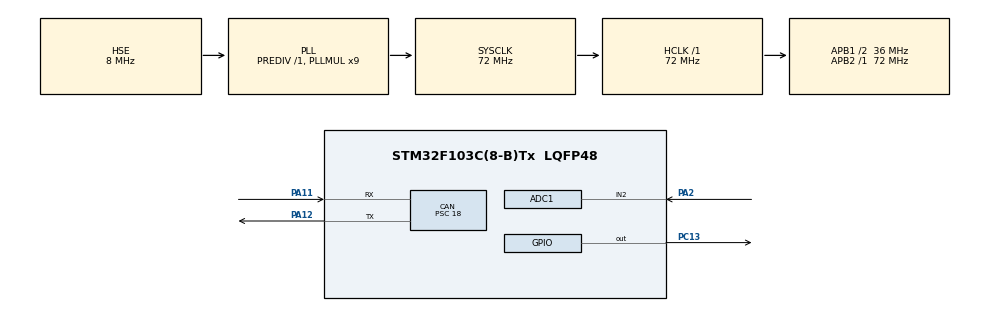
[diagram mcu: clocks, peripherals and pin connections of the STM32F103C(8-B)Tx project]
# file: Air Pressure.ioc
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ADC1.Channel-0\#ChannelRegularConversion=ADC_CHANNEL_2
ADC1.ContinuousConvMode=ENABLE
ADC1.NbrOfConversionFlag=1
ADC1.Rank-0\#ChannelRegularConversion=1
ADC1.SamplingTime-0\#ChannelRegularConversion=ADC_SAMPLETIME_239CYCLES_5
ADC1.master=1
CAN.BS1=CAN_BS1_2TQ
CAN.CalculateBaudRate=500000
CAN.CalculateTimeBit=2000
CAN.CalculateTimeQuantum=500.0
CAN.Prescaler=18
Mcu.Family=STM32F1
Mcu.Name=STM32F103C(8-B)Tx
Mcu.Package=LQFP48
NVIC.CAN1_RX1_IRQn=true\:0\:0\:false\:false\:true\:true\:true\:true
NVIC.PriorityGroup=NVIC_PRIORITYGROUP_4
NVIC.USB_LP_CAN1_RX0_IRQn=true\:0\:0\:false\:false\:true\:true\:true\:true
PA11.Mode=CAN_Activate
PA11.Signal=CAN_RX
PA12.Mode=CAN_Activate
PA12.Signal=CAN_TX
PA13.Mode=Serial_Wire
PA13.Signal=SYS_JTMS-SWDIO
PA14.Mode=Serial_Wire
PA14.Signal=SYS_JTCK-SWCLK
PA2.Signal=ADCx_IN2
PC13-TAMPER-RTC.Signal=GPIO_Output
PD0-OSC_IN.Mode=HSE-External-Oscillator
PD0-OSC_IN.Signal=RCC_OSC_IN
PD1-OSC_OUT.Mode=HSE-External-Oscillator
PD1-OSC_OUT.Signal=RCC_OSC_OUT
ProjectManager.HeapSize=0x200
ProjectManager.StackSize=0x400
ProjectManager.TargetToolchain=STM32CubeIDE
RCC.ADCPresc=RCC_ADCPCLK2_DIV6
RCC.AHBFreq_Value=72000000
RCC.APB1CLKDivider=RCC_HCLK_DIV2
RCC.APB1Freq_Value=36000000
RCC.APB1TimFreq_Value=72000000
RCC.APB2Freq_Value=72000000
RCC.APB2TimFreq_Value=72000000
RCC.HCLKFreq_Value=72000000
RCC.PLLMUL=RCC_PLL_MUL9
RCC.PLLSourceVirtual=RCC_PLLSOURCE_HSE
RCC.SYSCLKFreq_VALUE=72000000
RCC.SYSCLKSource=RCC_SYSCLKSOURCE_PLLCLK
RCC.USBFreq_Value=72000000
SH.ADCx_IN2.0=ADC1_IN2,IN2
board=custom

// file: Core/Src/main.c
/* USER CODE BEGIN Header */
/**
  ******************************************************************************
  * @file           : main.c
  * @brief          : Main program body
  ******************************************************************************
  * @attention
  *
  * <h2><center>&copy; Copyright (c) 2021 STMicroelectronics.
  * All rights reserved.</center></h2>
  *
  * This software component is licensed by ST under BSD 3-Clause license,
  * the "License"; You may not use this file except in compliance with the
  * License. You may obtain a copy of the License at:
  *                        opensource.org/licenses/BSD-3-Clause
  *
  ******************************************************************************
  */
/* USER CODE END Header */
#include "main.h"

ADC_HandleTypeDef hadc1;

CAN_HandleTypeDef hcan;

void SystemClock_Config(void);
static void MX_GPIO_Init(void);
static void MX_ADC1_Init(void);
static void MX_CAN_Init(void);

/* USER CODE BEGIN 0 */

float analog_12bit;
float voltage;
const float aRef = 3.23;
uint32_t PSI_Real;
uint8_t psi;

CAN_TxHeaderTypeDef TxHeader;
CAN_RxHeaderTypeDef RxHeader;

uint8_t TxData[8];
uint8_t RxData[8];

uint32_t TxMailbox;

int datacheck = 0;

void HAL_CAN_RxFifo1MsgPendingCallback(CAN_HandleTypeDef *hcan)
{
	HAL_CAN_GetRxMessage(hcan, CAN_RX_FIFO1, &RxHeader, RxData);
	if (RxHeader.DLC == 1)
	{
		datacheck = 1;
	}
}

/* USER CODE END 0 */

int main(void)
{

  /* MCU Configuration--------------------------------------------------------*/

  /* Reset of all peripherals, Initializes the Flash interface and the Systick. */
  HAL_Init();

  /* Configure the system clock */
  SystemClock_Config();

  /* Initialize all configured peripherals */
  MX_GPIO_Init();
  MX_ADC1_Init();
  MX_CAN_Init();
  /* USER CODE BEGIN 2 */

  HAL_CAN_Start(&hcan);

  // Activate the notification
  HAL_CAN_ActivateNotification(&hcan, CAN_IT_RX_FIFO1_MSG_PENDING);

  TxHeader.DLC = 1;  // data length
  TxHeader.IDE = CAN_ID_STD;
  TxHeader.RTR = CAN_RTR_DATA;
  TxHeader.StdId = 0x103;  // ID

//  TxData[0] = 200;  // ms delay
//  TxData[1] = 20;  // loop rep

  /* USER CODE END 2 */

  /* Infinite loop */
  while (1)
  {

    /* USER CODE BEGIN 3 */

	  //
//	  if (datacheck)
//	  {
		  HAL_ADC_Start(&hadc1);

		  analog_12bit = HAL_ADC_GetValue(&hadc1);

		  voltage = (float) ((float)(analog_12bit / 3530.0) * aRef);
		  psi = (uint8_t)((37.735 * voltage) - 12.075); // y=mx+b
		  if(psi > 100)
		  {
			  psi = 100;
		  }
		  if(psi < 0)
		  {
			  psi = 0;
		  }

		  TxData[0] = psi;
		  datacheck = 0;

		  HAL_CAN_AddTxMessage(&hcan, &TxHeader, TxData, &TxMailbox);
		  HAL_Delay(700);
	 // }
  }
  /* USER CODE END 3 */
}

void SystemClock_Config(void)
{
  RCC_OscInitTypeDef RCC_OscInitStruct = {0};
  RCC_ClkInitTypeDef RCC_ClkInitStruct = {0};
  RCC_PeriphCLKInitTypeDef PeriphClkInit = {0};

  /** Initializes the RCC Oscillators according to the specified parameters
  * in the RCC_OscInitTypeDef structure.
  */
  RCC_OscInitStruct.OscillatorType = RCC_OSCILLATORTYPE_HSE;
  RCC_OscInitStruct.HSEState = RCC_HSE_ON;
  RCC_OscInitStruct.HSEPredivValue = RCC_HSE_PREDIV_DIV1;
  RCC_OscInitStruct.HSIState = RCC_HSI_ON;
  RCC_OscInitStruct.PLL.PLLState = RCC_PLL_ON;
  RCC_OscInitStruct.PLL.PLLSource = RCC_PLLSOURCE_HSE;
  RCC_OscInitStruct.PLL.PLLMUL = RCC_PLL_MUL9;
  if (HAL_RCC_OscConfig(&RCC_OscInitStruct) != HAL_OK)
  {
    Error_Handler();
  }

  /** Initializes the CPU, AHB and APB buses clocks
  */
  RCC_ClkInitStruct.ClockType = RCC_CLOCKTYPE_HCLK|RCC_CLOCKTYPE_SYSCLK
                              |RCC_CLOCKTYPE_PCLK1|RCC_CLOCKTYPE_PCLK2;
  RCC_ClkInitStruct.SYSCLKSource = RCC_SYSCLKSOURCE_PLLCLK;
  RCC_ClkInitStruct.AHBCLKDivider = RCC_SYSCLK_DIV1;
  RCC_ClkInitStruct.APB1CLKDivider = RCC_HCLK_DIV2;
  RCC_ClkInitStruct.APB2CLKDivider = RCC_HCLK_DIV1;

  if (HAL_RCC_ClockConfig(&RCC_ClkInitStruct, FLASH_LATENCY_2) != HAL_OK)
  {
    Error_Handler();
  }
  PeriphClkInit.PeriphClockSelection = RCC_PERIPHCLK_ADC;
  PeriphClkInit.AdcClockSelection = RCC_ADCPCLK2_DIV6;
  if (HAL_RCCEx_PeriphCLKConfig(&PeriphClkInit) != HAL_OK)
  {
    Error_Handler();
  }
}

static void MX_ADC1_Init(void)
{

  ADC_ChannelConfTypeDef sConfig = {0};

  /** Common config
  */
  hadc1.Instance = ADC1;
  hadc1.Init.ScanConvMode = ADC_SCAN_DISABLE;
  hadc1.Init.ContinuousConvMode = ENABLE;
  hadc1.Init.DiscontinuousConvMode = DISABLE;
  hadc1.Init.ExternalTrigConv = ADC_SOFTWARE_START;
  hadc1.Init.DataAlign = ADC_DATAALIGN_RIGHT;
  hadc1.Init.NbrOfConversion = 1;
  if (HAL_ADC_Init(&hadc1) != HAL_OK)
  {
    Error_Handler();
  }

  /** Configure Regular Channel
  */
  sConfig.Channel = ADC_CHANNEL_2;
  sConfig.Rank = ADC_REGULAR_RANK_1;
  sConfig.SamplingTime = ADC_SAMPLETIME_239CYCLES_5;
  if (HAL_ADC_ConfigChannel(&hadc1, &sConfig) != HAL_OK)
  {
    Error_Handler();
  }

}

static void MX_CAN_Init(void)
{

  hcan.Instance = CAN1;
  hcan.Init.Prescaler = 18;
  hcan.Init.Mode = CAN_MODE_NORMAL;
  hcan.Init.SyncJumpWidth = CAN_SJW_1TQ;
  hcan.Init.TimeSeg1 = CAN_BS1_2TQ;
  hcan.Init.TimeSeg2 = CAN_BS2_1TQ;
  hcan.Init.TimeTriggeredMode = DISABLE;
  hcan.Init.AutoBusOff = DISABLE;
  hcan.Init.AutoWakeUp = DISABLE;
  hcan.Init.AutoRetransmission = DISABLE;
  hcan.Init.ReceiveFifoLocked = DISABLE;
  hcan.Init.TransmitFifoPriority = DISABLE;
  if (HAL_CAN_Init(&hcan) != HAL_OK)
  {
    Error_Handler();
  }
  /* USER CODE BEGIN CAN_Init 2 */

  CAN_FilterTypeDef canfilterconfig;

  canfilterconfig.FilterActivation = CAN_FILTER_ENABLE;
  canfilterconfig.FilterBank = 10;  // which filter bank to use from the assigned ones
  canfilterconfig.FilterFIFOAssignment = CAN_FILTER_FIFO1;
  canfilterconfig.FilterIdHigh = 0x057<<5;
  canfilterconfig.FilterIdLow = 0;
  canfilterconfig.FilterMaskIdHigh = 0xFFF<<5;
  canfilterconfig.FilterMaskIdLow = 0x0000;
  canfilterconfig.FilterMode = CAN_FILTERMODE_IDMASK;
  canfilterconfig.FilterScale = CAN_FILTERSCALE_32BIT;
  canfilterconfig.SlaveStartFilterBank = 0;  // doesn't matter in single can controllers

  HAL_CAN_ConfigFilter(&hcan, &canfilterconfig);

  /* USER CODE END CAN_Init 2 */

}

static void MX_GPIO_Init(void)
{
  GPIO_InitTypeDef GPIO_InitStruct = {0};

  /* GPIO Ports Clock Enable */
  __HAL_RCC_GPIOC_CLK_ENABLE();
  __HAL_RCC_GPIOD_CLK_ENABLE();
  __HAL_RCC_GPIOA_CLK_ENABLE();

  /*Configure GPIO pin Output Level */
  HAL_GPIO_WritePin(GPIOC, GPIO_PIN_13, GPIO_PIN_RESET);

  /*Configure GPIO pin : PC13 */
  GPIO_InitStruct.Pin = GPIO_PIN_13;
  GPIO_InitStruct.Mode = GPIO_MODE_OUTPUT_PP;
  GPIO_InitStruct.Pull = GPIO_NOPULL;
  GPIO_InitStruct.Speed = GPIO_SPEED_FREQ_LOW;
  HAL_GPIO_Init(GPIOC, &GPIO_InitStruct);

}

void Error_Handler(void)
{
  __disable_irq();
  while (1)
  {
  }
}
